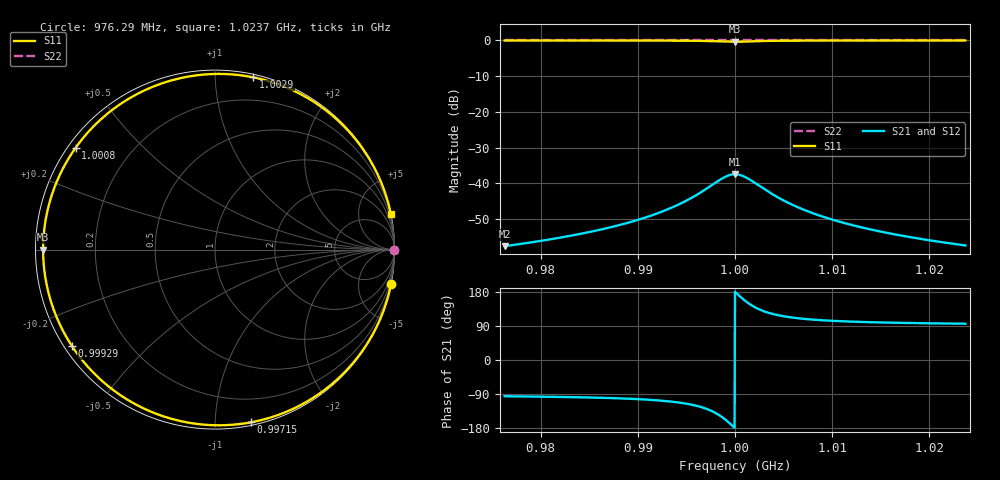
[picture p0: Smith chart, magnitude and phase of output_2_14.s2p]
! File generated for n1 = 2, n2 = 14
! b1 = 46.415888
! b2 = 0.002154
! Q0 = 10000.000000
! f0 = 1000000000.000000
! n = 1001
! rel_span = 10.000000
# Hz S RI R 50
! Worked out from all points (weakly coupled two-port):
!   1001 points, 976.29 MHz to 1.0237 GHz, reference 50 ohm
!   highest |S21| = -37.50 dB at 1 GHz (marker M1); lowest = -57.6 dB at 976.29 MHz (marker M2)
!   lowest |S11| = -0.4 dB at 1 GHz (marker M3), VSWR 46.32, Z = 1.08 + j0 ohm
!   |S11| at or under -10 dB: nowhere
!   |S22| runs from 0.0 to 0.0 dB; largest |S21 - S12| = 0
!   S11 on the Smith chart (normalised r, x): 976.29 MHz: 0, -10; 997.15 MHz: 0.02, -1.23; 999.29 MHz: 0.02, -0.31; 1.0008 GHz: 0.02, +0.33; 1.0029 GHz: 0.02, +1.24; 1.0237 GHz: 0, +10
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9.76291e8  0.9811 -0.1916  -0.000129 -0.00131  -0.000129 -0.00131  1 -8.89e-06
9.842098e8  0.9575 -0.2853  -0.00029 -0.00194  -0.00029 -0.00194  1 -1.32e-05
9.887145e8  0.9181 -0.3919  -0.000558 -0.00267  -0.000558 -0.00267  1 -1.82e-05
9.921286e8  0.8383 -0.5388  -0.0011 -0.00367  -0.0011 -0.00367  1 -2.5e-05
9.951634e8  0.6222 -0.7726  -0.00257 -0.00526  -0.00257 -0.00526  1 -3.59e-05
9.96254e8  0.4416 -0.884  -0.0038 -0.00602  -0.0038 -0.00602  1 -4.1e-05
9.971549e8  0.199 -0.9626  -0.00546 -0.00656  -0.00546 -0.00656  1 -4.47e-05
9.983404e8  -0.3132 -0.92  -0.00895 -0.00627  -0.00895 -0.00627  0.9999 -4.27e-05
9.988145e8  -0.5658 -0.7834  -0.0107 -0.00534  -0.0107 -0.00534  0.9999 -3.64e-05
9.992887e8  -0.796 -0.539  -0.0122 -0.00367  -0.0122 -0.00367  0.9999 -2.5e-05
1e9  -0.9577 0  -0.0133 0  -0.0133 0  0.9999 0
1.000379e9  -0.9089 0.3054  -0.013 0.00208  -0.013 0.00208  0.9999 1.42e-05
1.000759e9  -0.776 0.5681  -0.0121 0.00387  -0.0121 0.00387  0.9999 2.64e-05
1.001185e9  -0.5666 0.7828  -0.0107 0.00533  -0.0107 0.00533  0.9999 3.63e-05
1.00166e9  -0.3146 0.9195  -0.00896 0.00626  -0.00896 0.00626  0.9999 4.27e-05
1.002181e9  -0.0614 0.9754  -0.00723 0.00665  -0.00723 0.00665  1 4.53e-05
1.002893e9  0.2119 0.9601  -0.00537 0.00654  -0.00537 0.00654  1 4.46e-05
1.003793e9  0.4486 0.8806  -0.00376 0.006  -0.00376 0.006  1 4.09e-05
1.004884e9  0.6252 0.7703  -0.00255 0.00525  -0.00255 0.00525  1 3.58e-05
1.007919e9  0.8378 0.5397  -0.00111 0.00368  -0.00111 0.00368  1 2.51e-05
1.015838e9  0.9564 0.2888  -0.000297 0.00197  -0.000297 0.00197  1 1.34e-05
1.023709e9  0.9802 0.1961  -0.000135 0.00134  -0.000135 0.00134  1 9.1e-06
